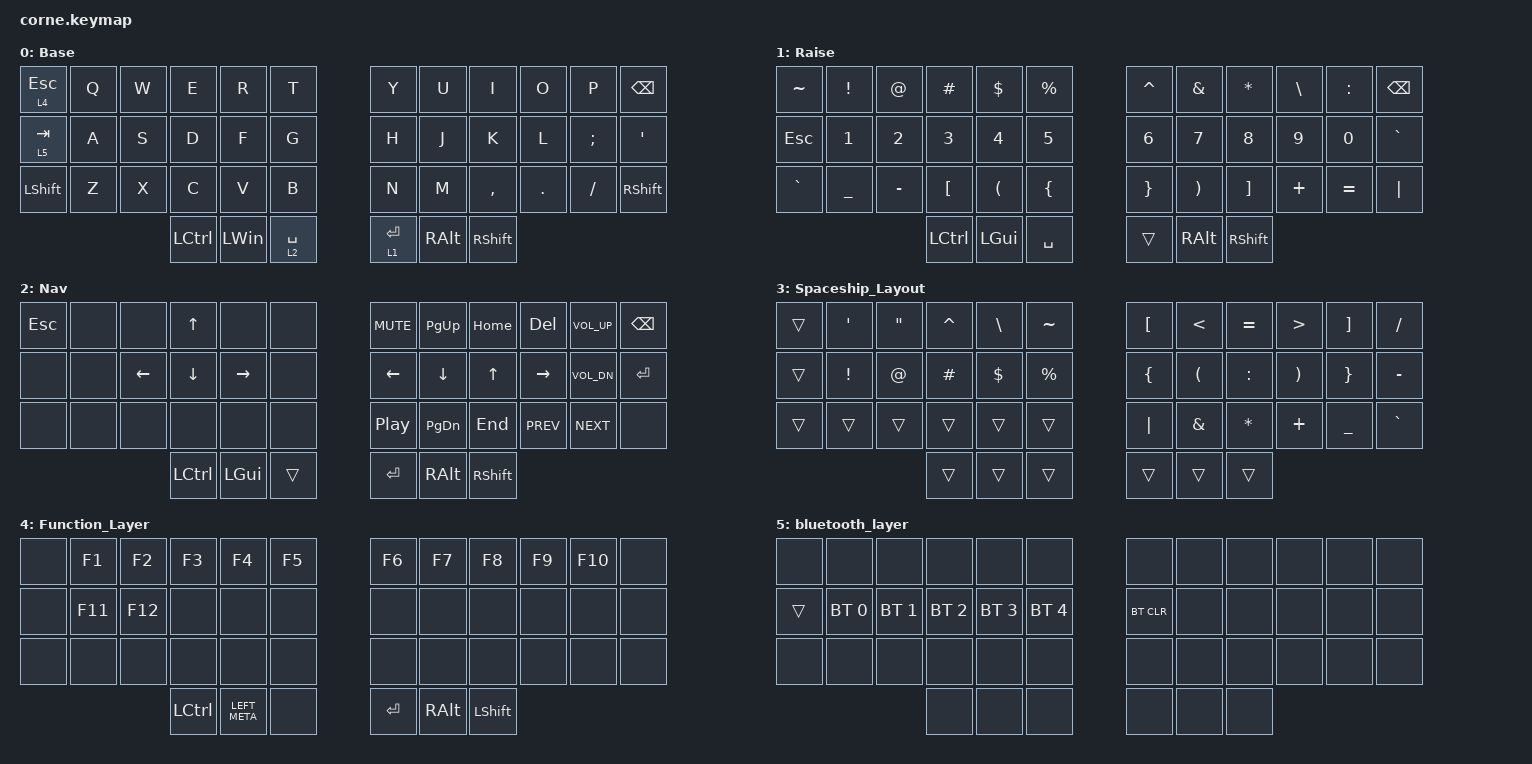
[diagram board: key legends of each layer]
/*
 * Copyright (c) 2020 The ZMK Contributors
 *
 * SPDX-License-Identifier: MIT
 */

#include <behaviors.dtsi>
#include <dt-bindings/zmk/bt.h>
#include <dt-bindings/zmk/keys.h>

/ {
    behaviors {
        hm: holdtap_mods {
            compatible = "zmk,behavior-hold-tap";
            #binding-cells = <2>;
            flavor = "tap-preferred";
            tapping-term-ms = <400>;
            quick-tap-ms = <300>;
            require-prior-idle-ms = <100>;
            bindings = <&kp>, <&kp>;
        };

        lm: layer_mods {
            compatible = "zmk,behavior-hold-tap";
            #binding-cells = <2>;
            flavor = "tap-preferred";
            tapping-term-ms = <250>;
            quick-tap-ms = <250>;
            bindings = <&mo>, <&kp>;
        };
    };

    combos { compatible = "zmk,combos"; };

    keymap {
        compatible = "zmk,keymap";

        default_layer {
            // -----------------------------------------------------------------------------------------
            // |  TAB |  Q  |  W  |  E  |  R  |  T  |   |  Y  |  U  |  I  |  O  |  P  | BKSP |
            // | NAVG |  A  |  S  |  D  |  F  |  G  |   |  H  |  J  |  K  |  L  |  ;  |  '   |
            // | SHFT |  Z  |  X  |  C  |  V  |  B  |   |  N  |  M  |  ,  |  .  |  /  | SHFT |
            //                    | CTL | ALT | SPC |   | RET | ALT | CTL |
            //                                | MTA |   | RSE |

            display-name = "Base";
            bindings = <
&lm 4 ESCAPE  &kp Q  &kp W  &kp E      &kp R         &kp T          &kp Y      &kp U     &kp I            &kp O    &kp P     &kp BSPC
&lm 5 TAB     &kp A  &kp S  &kp D      &kp F         &kp G          &kp H      &kp J     &kp K            &kp L    &kp SEMI  &kp SQT
&kp LSHFT     &kp Z  &kp X  &kp C      &kp V         &kp B          &kp N      &kp M     &kp COMMA        &kp DOT  &kp FSLH  &kp RSHFT
                            &kp LCTRL  &kp LEFT_WIN  &lm 2 SPACE    &lm 1 RET  &kp RALT  &kp RIGHT_SHIFT
            >;
        };

        raise_layer {
            // -----------------------------------------------------------------------------------------
            // |   ~  |  1  |  2  |  3  |  4  |  5  |   |  6  |  7  |  8  |  9  |  0  | "|"  |
            // |  ESC |  `  |  -  |  _  |  (  |  [  |   |  ]  |  )  |  =  |  +  |  \  | ENT  |
            // | SHFT | F2  | F3  | F4  | F5  | F6  |   | F7  | F8  | F9  | F10 | F11 | SHFT |
            //                    | CTL | ALT | MTA |   |     | F1  | F12 |

            display-name = "Raise";
            bindings = <
&kp TILDE  &kp EXCLAMATION  &kp AT_SIGN   &kp HASH          &kp DOLLAR            &kp PERCENT       &kp CARET        &kp AMPERSAND          &kp ASTERISK       &kp BACKSLASH  &kp COLON  &kp BACKSPACE
&kp ESC    &kp NUMBER_1     &kp NUMBER_2  &kp NUMBER_3      &kp NUMBER_4          &kp N5            &kp NUMBER_6     &kp NUMBER_7           &kp NUMBER_8       &kp N9         &kp N0     &kp GRAVE
&kp GRAVE  &kp UNDER        &kp MINUS     &kp LEFT_BRACKET  &kp LEFT_PARENTHESIS  &kp LEFT_BRACE    &kp RIGHT_BRACE  &kp RIGHT_PARENTHESIS  &kp RIGHT_BRACKET  &kp PLUS       &kp EQUAL  &kp PIPE
                                          &kp LCTRL         &kp LEFT_GUI          &kp SPACE         &trans           &kp RIGHT_ALT          &kp RIGHT_SHIFT
            >;
        };

        navigation_layer {
            // -----------------------------------------------------------------------------------------
            // |      |     | UP  |     | BUP | BTC |   | BKS | PUP | HME | DEL | VUP | MUTE |
            // |      | LFT | DWN | RGT | BDN |     |   | LFT | DWN | UP  | RGT | VDN | ENT  |
            // |      | BT1 | BT2 | BT3 | BT4 | BT5 |   | PLY | PDN | END | PRV | NXT |      |
            //                    |     |     |     |   |     |     |     |

            display-name = "Nav";
            bindings = <
&kp ESC  &none  &none     &kp UP_ARROW  &none            &none     &kp K_MUTE  &kp PG_UP      &kp HOME   &kp DEL     &kp C_VOL_UP  &kp BACKSPACE
&none    &none  &kp LEFT  &kp DOWN      &kp RIGHT_ARROW  &none     &kp LEFT    &kp DOWN       &kp UP     &kp RIGHT   &kp C_VOL_DN  &kp RET
&none    &none  &none     &none         &none            &none     &kp C_PP    &kp PG_DN      &kp END    &kp C_PREV  &kp C_NEXT    &none
                          &kp LCTRL     &kp LEFT_GUI     &trans    &kp ENTER   &kp RIGHT_ALT  &kp RSHFT
            >;
        };

        Spaceship_Layout {
            bindings = <
&trans  &kp SINGLE_QUOTE  &kp DOUBLE_QUOTES  &kp CARET  &kp BACKSLASH  &kp TILDE      &kp LEFT_BRACKET  &kp LESS_THAN         &kp EQUAL  &kp GREATER_THAN       &kp RIGHT_BRACKET  &kp SLASH
&trans  &kp EXCL          &kp AT             &kp HASH   &kp DOLLAR     &kp PERCENT    &kp LEFT_BRACE    &kp LEFT_PARENTHESIS  &kp COLON  &kp RIGHT_PARENTHESIS  &kp RIGHT_BRACE    &kp MINUS
&trans  &trans            &trans             &trans     &trans         &trans         &kp PIPE          &kp AMPERSAND         &kp STAR   &kp PLUS               &kp UNDER          &kp GRAVE
                                             &trans     &trans         &trans         &trans            &trans                &trans
            >;
        };

        Function_Layer {
            bindings = <
&none  &kp F1   &kp F2   &kp F3     &kp F4         &kp F5    &kp F6     &kp F7    &kp F8          &kp F9  &kp F10  &none
&none  &kp F11  &kp F12  &none      &none          &none     &none      &none     &none           &none   &none    &none
&none  &none    &none    &none      &none          &none     &none      &none     &none           &none   &none    &none
                         &kp LCTRL  &kp LEFT_META  &none     &kp ENTER  &kp RALT  &kp LEFT_SHIFT
            >;
        };

        bluetooth_layer {
            bindings = <
&none   &none         &none         &none         &none         &none           &none       &none  &none  &none  &none  &none
&trans  &bt BT_SEL 0  &bt BT_SEL 1  &bt BT_SEL 2  &bt BT_SEL 3  &bt BT_SEL 4    &bt BT_CLR  &none  &none  &none  &none  &none
&none   &none         &none         &none         &none         &none           &none       &none  &none  &none  &none  &none
                                    &none         &none         &none           &none       &none  &none
            >;
        };
    };
};
